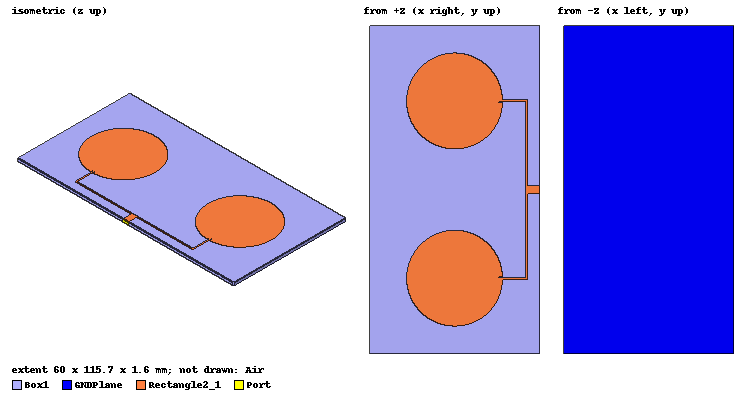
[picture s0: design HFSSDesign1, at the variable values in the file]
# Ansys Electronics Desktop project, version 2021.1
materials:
  vacuum: permittivity=1
  FR4_epoxy: permittivity=4.4 dielectric_loss_tangent=0.02
  air: permittivity=1.0006 permeability=1.0000004

design HFSSDesign1 (HFSS, DrivenModal, model units mm)
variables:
  wsub = 60mm
  lsub = 115.7mm
  hs = 1.6mm
  sd1 = 62.499366mm  # optimise 31.25mm..93.75mm
  r1 = 16.917268mm  # optimise 8.5mm..25.5mm
  mw = 1.1mm
  ml = 1.4mm
  wf1 = 0.7mm
  lf1 = 25mm
  wf2 = 3mm
  lf2 = 3mm
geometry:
  Box1 [FR4_epoxy] = box(corner=(-wsub/2, -lsub/2, 0mm), size=(wsub, lsub, hs))
  GNDPlane = rectangle(corner=(-wsub/2, -lsub/2, 0mm), x_size=wsub, y_size=lsub)
  Port = rectangle(corner=(wsub/2, -wf2/2, hs), y_size=wf2, z_size=-hs)
  Air [vacuum] = box(corner=(-wsub/2-50mm, -lsub/2-50mm, -50mm), size=(wsub+100mm, lsub+100mm, 100mm))
  Circle1 = circle(normal=Z, centre=(0mm, -sd1/2, hs), radius=r1)
  Rectangle1 = rectangle(corner=(r1, -sd1/2-mw/2, hs), x_size=-ml, y_size=mw)
  Circle1.subtract(Rectangle1)
  Feed = rectangle(corner=(0mm, -sd1/2-wf1/2, hs), x_size=lf1, y_size=wf1)
  Rectangle2 = rectangle(corner=(lf1, -(sd1/2+wf1/2), hs), x_size=wf1, y_size=sd1/2+wf1/2)
  Rectangle2_1 = Rectangle2.duplicate_mirror(point=(0mm, 0mm, 0mm), normal=(0mm, 1mm, 0mm))
  Feed_1 = Feed.duplicate_mirror(point=(0mm, 0mm, 0mm), normal=(0mm, 1mm, 0mm))
  Circle1_1 = Circle1.duplicate_mirror(point=(0mm, 0mm, 0mm), normal=(0mm, 1mm, 0mm))
  Rectangle2_1.unite(Rectangle2, Feed_1, Feed, Circle1, Circle1_1)
  Rectangle3 = rectangle(corner=(lf1+wf1, -wf2/2, hs), x_size=wsub/2-lf1-wf1, y_size=wf2)
  Rectangle2_1.unite(Rectangle3)
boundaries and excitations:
  PerfE1: Perfect E Objects=GNDPlane
  Rad1: Radiation Objects=Air
  PerfE2: Perfect E Objects=Rectangle2_1
  1: Lumped Port Objects=Port Modes{Mode1{IntLine{middle of Port.edge(z opposite corner) -> middle of Port.edge(z at corner)} CharImp=Zpi RenormImp=50ohm}} Impedance=50ohm
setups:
  Setup1: HfssDriven Frequency=2.4GHz MaxDeltaS=0.02 MaximumPasses=6 MinimumPasses=1 MinimumConvergedPasses=1 PercentRefinement=30 BasisOrder=1 PortAccuracy=2
    sweep Sweep: 1.4GHz to 3GHz step 0.02GHz; Type=Discrete SaveFields
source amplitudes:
  1:1: 1W 0deg
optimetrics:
  OptimizationSetup1: Optimization Optimizer="Quasi Newton" AnalysisStopOptions{StopForNumIteration MaxNumIteration=1000 MinNumIteration=10} CostFuncNormType=L2 Acceptable_Cost=0 Noise=0.0001 UpdateDesignWhenDone
    goal dB(S(1,1)) <= -13 weight 1 on Setup1 : Sweep at Freq 2.398GHz to 2.402GHz
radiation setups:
  Infinite Sphere1: Infinite Sphere Theta=-180deg..180deg step 2deg Phi=-180deg..180deg step 2deg
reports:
  S Parameter Plot 1: dB(S(1,1)) vs Freq on Setup1 : Sweep
  Gain Plot 1: dB(GainTotal) vs Freq on Setup1 : Sweep, Infinite Sphere1 [Phi=0deg Theta=0deg]; dB(RealizedGainTotal) vs Freq
  Realized Gain Plot 2: dB(RealizedGainPhi), dB(RealizedGainTheta) vs Theta on Setup1 : Sweep, Infinite Sphere1 [Phi=0deg,90deg Freq=2.4GHz]
